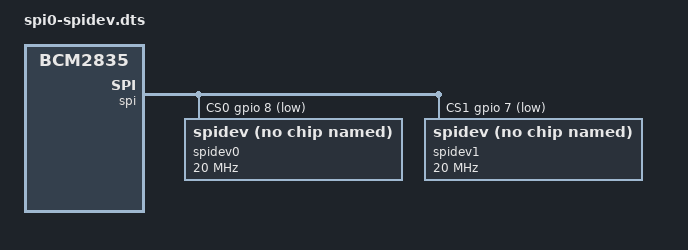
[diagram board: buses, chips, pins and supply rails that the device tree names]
/dts-v1/;
/plugin/;

/ {
	compatible = "brcm,bcm2835";

	/* Enable SPI0 + expose spidev on CE0 (spidev0.0) and CE1 (spidev0.1).
	 *
	 * NO pinctrl / no pin group here on purpose. The mainline bcm2835 gpio
	 * controller applies its OWN default pinctrl state at boot (gpio node:
	 * pinctrl-0 = <&gpioout &alt0>), and `alt0` already muxes pins
	 * 4 5 7 8 9 10 11 to ALT0. So MISO/MOSI/SCLK (9/10/11) and CE0/CE1
	 * (8/7) are ALREADY in SPI ALT0 function before this controller probes.
	 *
	 * Adding a pinctrl-0 to the spi node here would try to re-mux 9/10/11
	 * with owner "20204000.spi" while alt0 already holds them with owner
	 * "20200000.gpio" -> mux conflict: "pin gpio9 already requested by
	 * 20200000.gpio; cannot claim for 20204000.spi" and the controller setup
	 * aborts.
	 *
	 * We DO declare cs-gpios though (see below). If omitted, spi-bcm2835.c
	 * auto-converts the native CS0/CS1 to GPIO8/GPIO7 with ACTIVE_HIGH
	 * polarity (dmesg "setting up native-CSx to use GPIO"): CE0 then idles
	 * LOW and is driven HIGH during a transfer, so active-low SPI devices
	 * (Waveshare e-Paper on CE0) are never selected and ignore all data ->
	 * blank panel. Explicit active-low cs-gpios fix the polarity without
	 * re-muxing 9/10/11 (the gpio CS path already moves 7/8 off alt0). */
	fragment@0 {
		target = <&spi>;                 /* mainline labels the spi0 controller "spi" */
		__overlay__ {
			#address-cells = <1>;
			#size-cells = <0>;
			status = "okay";

			/* 1 = GPIO_ACTIVE_LOW. reg=0 -> 1st entry GPIO8/CE0 ->
			 * spidev0.0; reg=1 -> GPIO7/CE1 -> spidev0.1. Literal 1
			 * (not GPIO_ACTIVE_LOW): dtc runs without the C preprocessor. */
			cs-gpios = <&gpio 8 1>, <&gpio 7 1>;

			spidev0: spidev@0 {
				compatible = "rohm,dh2228fv";     /* whitelisted; bare "spidev" is rejected */
				reg = <0>;
				spi-max-frequency = <20000000>;
			};

			spidev1: spidev@1 {
				compatible = "rohm,dh2228fv";
				reg = <1>;
				spi-max-frequency = <20000000>;
			};
		};
	};
};
